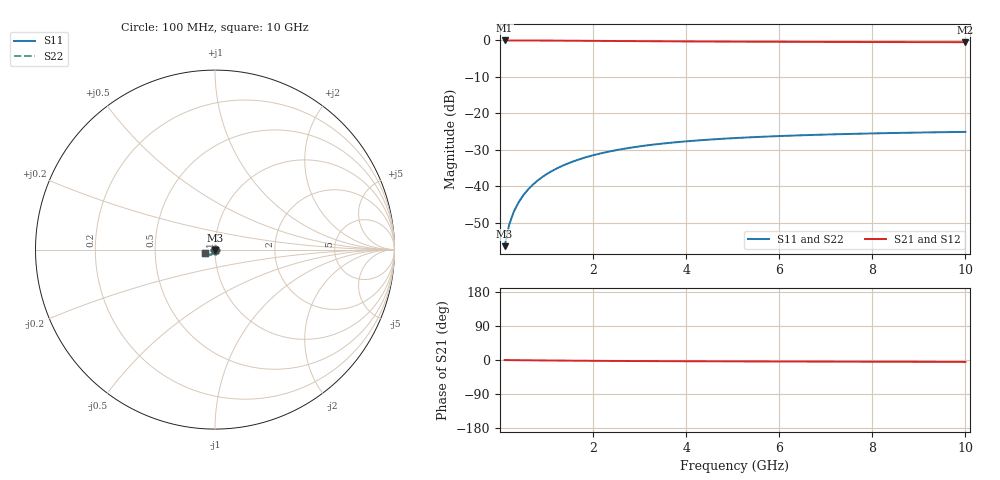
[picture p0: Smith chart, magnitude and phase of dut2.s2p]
! Touchstone file exported from HFSS 2024.1.0
!  File:  C:/UserFiles/LocalFiles/RDL_TSV_Batchsim/temp_TSV1_2_1779367263.aedt
!  Generated:  08:48:18 PM May 21, 2026
!  Design:  TSV1
!  Project:  temp_TSV1_2_1779367263
!  Setup:  Setup1
!  Solution:  Sweep
! Variables:
!  dtsv = 12.22um
!  hbump = 3um
!  htsv = 78.29um
!  lrdl = 252.1521522um
!  p = 40
!  p1 = 45.14um
!  t = 500um
!  trdl = 3um
!  wrdl = 24.89489489um
# GHz S MA R 50.000000
! Terminal data exported
! Port[1] = TSV22_T1
! Port[2] = TSV22_T2
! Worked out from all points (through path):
!   100 points, 100 MHz to 10 GHz, reference 50 ohm
!   highest |S21| = 0.00 dB at 100 MHz (marker M1); lowest = -0.5 dB at 10 GHz (marker M2)
!   lowest |S11| = -56.5 dB at 100 MHz (marker M3), VSWR 1.00, Z = 50 - j0.15 ohm
!   |S11| at or under -10 dB: start of sweep to end of sweep
!   |S22| runs from -56.5 to -25.1 dB; largest |S21 - S12| = 7.3e-15
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0.1  0.001501 -87.8  0.9999 -0.1  0.9999 -0.1  0.001501 -87.8
! Gamma 0 0 0 0
! Port Impedance 50 0 50 0
0.2  0.002998 -91.1  0.9997 -0.3  0.9997 -0.3  0.002998 -91.1
0.3  0.004495 -93.2  0.9995 -0.4  0.9995 -0.4  0.004495 -93.2
0.4  0.005987 -95.1  0.9992 -0.5  0.9992 -0.5  0.005987 -95.1
0.5  0.007469 -96.8  0.9988 -0.6  0.9988 -0.6  0.007469 -96.8
0.6  0.008935 -98.5  0.9984 -0.8  0.9984 -0.8  0.008935 -98.5
0.7  0.01038 -100.1  0.9978 -0.9  0.9978 -0.9  0.01038 -100.1
0.8  0.01181 -101.7  0.9973 -1.0  0.9973 -1.0  0.01181 -101.7
0.9  0.01321 -103.3  0.9966 -1.1  0.9966 -1.1  0.01321 -103.3
1.1  0.01592 -106.3  0.9952 -1.3  0.9952 -1.3  0.01592 -106.3
1.4  0.01977 -110.7  0.9928 -1.6  0.9928 -1.6  0.01977 -110.7
1.6  0.02216 -113.4  0.991 -1.8  0.991 -1.8  0.02216 -113.4
1.8  0.02441 -116.0  0.9891 -2.0  0.9891 -2.0  0.02441 -116.0
2.1  0.02753 -119.7  0.9862 -2.2  0.9862 -2.2  0.02753 -119.7
2.5  0.03122 -124.1  0.9824 -2.5  0.9824 -2.5  0.03122 -124.1
2.9  0.03443 -128.2  0.9787 -2.7  0.9787 -2.7  0.03443 -128.2
3.4  0.03784 -132.6  0.9745 -3.0  0.9745 -3.0  0.03784 -132.6
4.2  0.04219 -138.6  0.9685 -3.3  0.9685 -3.3  0.04219 -138.6
5.1  0.04589 -144.2  0.9629 -3.7  0.9629 -3.7  0.04589 -144.2
6.7  0.05044 -151.7  0.9556 -4.1  0.9556 -4.1  0.05044 -151.7
8.4  0.05359 -157.8  0.9503 -4.6  0.9503 -4.6  0.05359 -157.8
10  0.05561 -162.3  0.9468 -5.1  0.9468 -5.1  0.05561 -162.3
